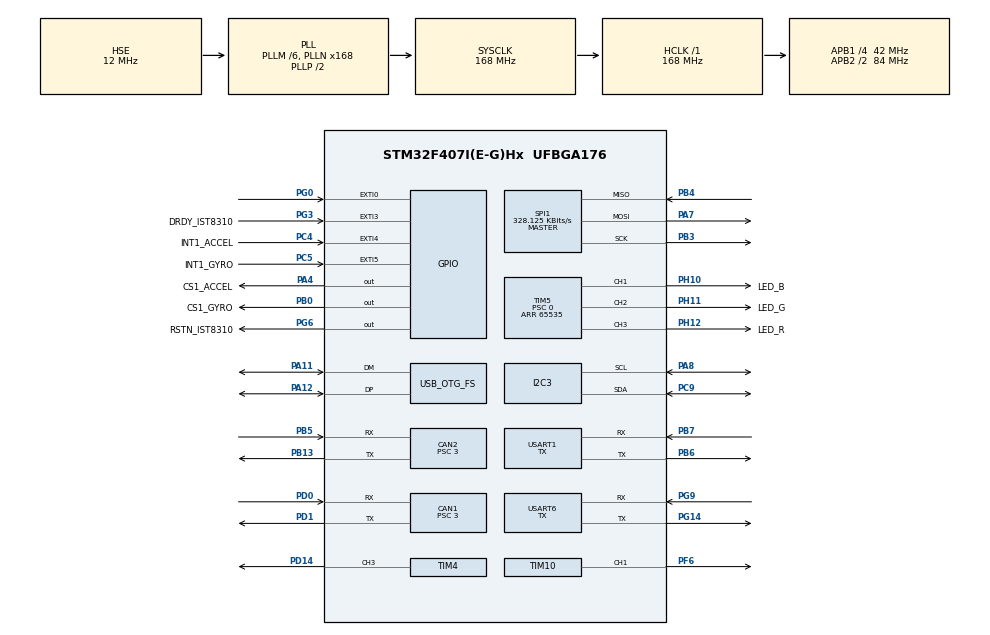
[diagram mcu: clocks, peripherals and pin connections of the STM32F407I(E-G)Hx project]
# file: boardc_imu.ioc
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CAN1.ABOM=ENABLE
CAN1.BS1=CAN_BS1_10TQ
CAN1.BS2=CAN_BS2_3TQ
CAN1.CalculateBaudRate=1000000
CAN1.CalculateTimeBit=1000
CAN1.CalculateTimeQuantum=71.42857142857143
CAN1.Prescaler=3
CAN2.ABOM=ENABLE
CAN2.BS1=CAN_BS1_10TQ
CAN2.BS2=CAN_BS2_3TQ
CAN2.CalculateBaudRate=1000000
CAN2.CalculateTimeBit=1000
CAN2.CalculateTimeQuantum=71.42857142857143
CAN2.Prescaler=3
Dma.Request0=SPI1_RX
Dma.Request1=SPI1_TX
Dma.Request2=USART1_TX
Dma.Request3=USART6_TX
Dma.SPI1_RX.0.Direction=DMA_PERIPH_TO_MEMORY
Dma.SPI1_RX.0.FIFOMode=DMA_FIFOMODE_DISABLE
Dma.SPI1_RX.0.Instance=DMA2_Stream2
Dma.SPI1_RX.0.MemDataAlignment=DMA_MDATAALIGN_BYTE
Dma.SPI1_RX.0.MemInc=DMA_MINC_ENABLE
Dma.SPI1_RX.0.Mode=DMA_NORMAL
Dma.SPI1_RX.0.PeriphDataAlignment=DMA_PDATAALIGN_BYTE
Dma.SPI1_RX.0.PeriphInc=DMA_PINC_DISABLE
Dma.SPI1_RX.0.Priority=DMA_PRIORITY_VERY_HIGH
Dma.SPI1_TX.1.Direction=DMA_MEMORY_TO_PERIPH
Dma.SPI1_TX.1.FIFOMode=DMA_FIFOMODE_DISABLE
Dma.SPI1_TX.1.Instance=DMA2_Stream3
Dma.SPI1_TX.1.MemDataAlignment=DMA_MDATAALIGN_BYTE
Dma.SPI1_TX.1.MemInc=DMA_MINC_ENABLE
Dma.SPI1_TX.1.Mode=DMA_NORMAL
Dma.SPI1_TX.1.PeriphDataAlignment=DMA_PDATAALIGN_BYTE
Dma.SPI1_TX.1.PeriphInc=DMA_PINC_DISABLE
Dma.SPI1_TX.1.Priority=DMA_PRIORITY_HIGH
Dma.USART1_TX.2.Direction=DMA_MEMORY_TO_PERIPH
Dma.USART1_TX.2.FIFOMode=DMA_FIFOMODE_DISABLE
Dma.USART1_TX.2.Instance=DMA2_Stream7
Dma.USART1_TX.2.MemDataAlignment=DMA_MDATAALIGN_BYTE
Dma.USART1_TX.2.MemInc=DMA_MINC_ENABLE
Dma.USART1_TX.2.Mode=DMA_NORMAL
Dma.USART1_TX.2.PeriphDataAlignment=DMA_PDATAALIGN_BYTE
Dma.USART1_TX.2.PeriphInc=DMA_PINC_DISABLE
Dma.USART1_TX.2.Priority=DMA_PRIORITY_LOW
Dma.USART6_TX.3.Direction=DMA_MEMORY_TO_PERIPH
Dma.USART6_TX.3.FIFOMode=DMA_FIFOMODE_DISABLE
Dma.USART6_TX.3.Instance=DMA2_Stream6
Dma.USART6_TX.3.MemDataAlignment=DMA_MDATAALIGN_BYTE
Dma.USART6_TX.3.MemInc=DMA_MINC_ENABLE
Dma.USART6_TX.3.Mode=DMA_NORMAL
Dma.USART6_TX.3.PeriphDataAlignment=DMA_PDATAALIGN_BYTE
Dma.USART6_TX.3.PeriphInc=DMA_PINC_DISABLE
Dma.USART6_TX.3.Priority=DMA_PRIORITY_LOW
I2C3.I2C_Mode=I2C_Fast
IWDG.Prescaler=IWDG_PRESCALER_32
IWDG.Reload=500
Mcu.Family=STM32F4
Mcu.Name=STM32F407I(E-G)Hx
Mcu.Package=UFBGA176
NVIC.CAN1_RX0_IRQn=true\:0\:0\:false\:false\:true\:true\:true\:true
NVIC.CAN2_RX0_IRQn=true\:0\:0\:false\:false\:true\:true\:true\:true
NVIC.DMA2_Stream2_IRQn=true\:5\:0\:true\:false\:false\:false\:true\:true
NVIC.DMA2_Stream3_IRQn=true\:5\:0\:true\:false\:false\:false\:true\:true
NVIC.DMA2_Stream6_IRQn=true\:0\:0\:false\:false\:true\:false\:true\:true
NVIC.DMA2_Stream7_IRQn=true\:0\:0\:false\:false\:true\:false\:true\:true
NVIC.EXTI0_IRQn=true\:6\:0\:true\:false\:true\:true\:true\:true
NVIC.EXTI3_IRQn=true\:5\:0\:true\:false\:true\:true\:true\:true
NVIC.EXTI4_IRQn=true\:5\:0\:true\:false\:true\:true\:true\:true
NVIC.EXTI9_5_IRQn=true\:5\:0\:true\:false\:true\:true\:true\:true
NVIC.OTG_FS_IRQn=true\:0\:0\:false\:false\:true\:false\:true\:true
NVIC.PriorityGroup=NVIC_PRIORITYGROUP_4
NVIC.TIM2_IRQn=true\:0\:0\:false\:false\:true\:true\:true\:true
NVIC.TIM7_IRQn=true\:15\:0\:false\:false\:true\:false\:true\:true
NVIC.TimeBase=TIM7_IRQn
NVIC.TimeBaseIP=TIM7
PA11.Mode=Device_Only
PA11.Signal=USB_OTG_FS_DM
PA12.Mode=Device_Only
PA12.Signal=USB_OTG_FS_DP
PA13.Mode=Serial_Wire
PA13.Signal=SYS_JTMS-SWDIO
PA14.Mode=Serial_Wire
PA14.Signal=SYS_JTCK-SWCLK
PA4.GPIO_Label=CS1_ACCEL
PA4.GPIO_PuPd=GPIO_PULLUP
PA4.GPIO_Speed=GPIO_SPEED_FREQ_HIGH
PA4.PinState=GPIO_PIN_SET
PA4.Signal=GPIO_Output
PA7.GPIO_PuPd=GPIO_PULLUP
PA7.Mode=Full_Duplex_Master
PA7.Signal=SPI1_MOSI
PA8.GPIO_Pu=GPIO_PULLUP
PA8.Mode=I2C
PA8.Signal=I2C3_SCL
PB0.GPIO_Label=CS1_GYRO
PB0.GPIO_PuPd=GPIO_PULLUP
PB0.GPIO_Speed=GPIO_SPEED_FREQ_HIGH
PB0.PinState=GPIO_PIN_SET
PB0.Signal=GPIO_Output
PB13.Mode=CAN_Activate
PB13.Signal=CAN2_TX
PB3.GPIO_PuPd=GPIO_PULLUP
PB3.Mode=Full_Duplex_Master
PB3.Signal=SPI1_SCK
PB4.GPIO_PuPd=GPIO_PULLUP
PB4.Mode=Full_Duplex_Master
PB4.Signal=SPI1_MISO
PB5.Mode=CAN_Activate
PB5.Signal=CAN2_RX
PB6.Mode=Asynchronous
PB6.Signal=USART1_TX
PB7.Mode=Asynchronous
PB7.Signal=USART1_RX
PC4.GPIO_Label=INT1_ACCEL
PC4.GPIO_ModeDefaultEXTI=GPIO_MODE_IT_FALLING
PC4.GPIO_PuPd=GPIO_PULLUP
PC4.Signal=GPXTI4
PC5.GPIO_Label=INT1_GYRO
PC5.GPIO_ModeDefaultEXTI=GPIO_MODE_IT_FALLING
PC5.GPIO_PuPd=GPIO_PULLUP
PC5.Signal=GPXTI5
PC9.GPIO_Pu=GPIO_PULLUP
PC9.Mode=I2C
PC9.Signal=I2C3_SDA
PD0.Mode=CAN_Activate
PD0.Signal=CAN1_RX
PD1.Mode=CAN_Activate
PD1.Signal=CAN1_TX
PD14.Signal=S_TIM4_CH3
PF6.GPIO_PuPd=GPIO_PULLUP
PF6.GPIO_Speed=GPIO_SPEED_FREQ_HIGH
PF6.Signal=S_TIM10_CH1
PG0.GPIO_ModeDefaultEXTI=GPIO_MODE_IT_FALLING
PG0.GPIO_PuPd=GPIO_PULLUP
PG0.Signal=GPXTI0
PG14.Mode=Asynchronous
PG14.Signal=USART6_TX
PG3.GPIO_Label=DRDY_IST8310
PG3.GPIO_ModeDefaultEXTI=GPIO_MODE_IT_FALLING
PG3.GPIO_PuPd=GPIO_PULLUP
PG3.Signal=GPXTI3
PG6.GPIO_Label=RSTN_IST8310
PG6.GPIO_PuPd=GPIO_PULLUP
PG6.GPIO_Speed=GPIO_SPEED_FREQ_MEDIUM
PG6.PinState=GPIO_PIN_SET
PG6.Signal=GPIO_Output
PG9.Mode=Asynchronous
PG9.Signal=USART6_RX
PH0-OSC_IN.Mode=HSE-External-Oscillator
PH0-OSC_IN.Signal=RCC_OSC_IN
PH1-OSC_OUT.Mode=HSE-External-Oscillator
PH1-OSC_OUT.Signal=RCC_OSC_OUT
PH10.GPIO_Label=LED_B
PH10.GPIO_PuPd=GPIO_PULLUP
PH10.GPIO_Speed=GPIO_SPEED_FREQ_HIGH
PH10.Signal=S_TIM5_CH1
PH11.GPIO_Label=LED_G
PH11.GPIO_PuPd=GPIO_PULLUP
PH11.GPIO_Speed=GPIO_SPEED_FREQ_HIGH
PH11.Signal=S_TIM5_CH2
PH12.GPIO_Label=LED_R
PH12.GPIO_PuPd=GPIO_PULLUP
PH12.GPIO_Speed=GPIO_SPEED_FREQ_HIGH
PH12.Signal=S_TIM5_CH3
ProjectManager.HeapSize=0x2000
ProjectManager.StackSize=0x2000
ProjectManager.TargetToolchain=CMake
RCC.48MHZClocksFreq_Value=48000000
RCC.AHBFreq_Value=168000000
RCC.APB1CLKDivider=RCC_HCLK_DIV4
RCC.APB1Freq_Value=42000000
RCC.APB1TimFreq_Value=84000000
RCC.APB2CLKDivider=RCC_HCLK_DIV2
RCC.APB2Freq_Value=84000000
RCC.APB2TimFreq_Value=168000000
RCC.CortexFreq_Value=168000000
RCC.HCLKFreq_Value=168000000
RCC.HSE_VALUE=12000000
RCC.HSI_VALUE=16000000
RCC.LSE_VALUE=32768
RCC.PLLM=6
RCC.PLLN=168
RCC.PLLQ=7
RCC.RCC_RTC_Clock_SourceVirtual=RCC_RTCCLKSOURCE_HSE_DIV30
RCC.RCC_RTC_Clock_Source_FROM_HSE=RCC_RTCCLKSOURCE_HSE_DIV30
RCC.SYSCLKFreq_VALUE=168000000
RCC.SYSCLKSource=RCC_SYSCLKSOURCE_PLLCLK
RCC.VCOOutputFreq_Value=336000000
SH.S_TIM10_CH1.0=TIM10_CH1,PWM Generation1 CH1
SH.S_TIM4_CH3.0=TIM4_CH3,PWM Generation3 CH3
SH.S_TIM5_CH1.0=TIM5_CH1,PWM Generation1 CH1
SH.S_TIM5_CH2.0=TIM5_CH2,PWM Generation2 CH2
SH.S_TIM5_CH3.0=TIM5_CH3,PWM Generation3 CH3
SPI1.BaudRatePrescaler=SPI_BAUDRATEPRESCALER_256
SPI1.CLKPhase=SPI_PHASE_2EDGE
SPI1.CLKPolarity=SPI_POLARITY_HIGH
SPI1.CalculateBaudRate=328.125 KBits/s
SPI1.Direction=SPI_DIRECTION_2LINES
SPI1.Mode=SPI_MODE_MASTER
SPI1.VirtualType=VM_MASTER
TIM10.AutoReloadPreload=TIM_AUTORELOAD_PRELOAD_DISABLE
TIM10.Channel=TIM_CHANNEL_1
TIM10.Period=4999
TIM2.AutoReloadPreload=TIM_AUTORELOAD_PRELOAD_ENABLE
TIM2.Period=1000
TIM2.Prescaler=84
TIM4.Channel-PWM\ Generation3\ CH3=TIM_CHANNEL_3
TIM4.Period=21000
TIM5.Channel-PWM\ Generation1\ CH1=TIM_CHANNEL_1
TIM5.Channel-PWM\ Generation2\ CH2=TIM_CHANNEL_2
TIM5.Channel-PWM\ Generation3\ CH3=TIM_CHANNEL_3
TIM5.Period=65535
TIM5.Prescaler=0
USART1.Mode=MODE_TX
USART1.VirtualMode=VM_ASYNC
USART6.Mode=MODE_TX
USART6.VirtualMode=VM_ASYNC
USB_DEVICE.CLASS_NAME_FS=CDC
USB_DEVICE.VirtualMode-CDC_FS=Cdc
USB_DEVICE.VirtualModeFS=Cdc_FS
USB_OTG_FS.VirtualMode=Device_Only
VP_IWDG_VS_IWDG.Mode=IWDG_Activate
VP_SYS_VS_tim7.Mode=TIM7
VP_TIM10_VS_ClockSourceINT.Mode=Enable_Timer
VP_TIM2_VS_ClockSourceINT.Mode=Internal
VP_TIM5_VS_ClockSourceINT.Mode=Internal
VP_USB_DEVICE_VS_USB_DEVICE_CDC_FS.Mode=CDC_FS
board=custom

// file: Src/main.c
/* USER CODE BEGIN Header */
/**
 ******************************************************************************
 * @file           : main.c
 * @brief          : Main program body
 ******************************************************************************
 * @attention
 *
 * Copyright (c) 2024 STMicroelectronics.
 * All rights reserved.
 *
 * This software is licensed under terms that can be found in the LICENSE file
 * in the root directory of this software component.
 * If no LICENSE file comes with this software, it is provided AS-IS.
 *
 ******************************************************************************
 */
/* USER CODE END Header */
#include "main.h"
#include "can.h"
#include "dma.h"
#include "i2c.h"
#include "iwdg.h"
#include "spi.h"
#include "tim.h"
#include "usart.h"
#include "usb_device.h"
#include "gpio.h"

void SystemClock_Config(void);
/* USER CODE BEGIN PFP */
void InsInit();
void InsLoop();
void IOInit();
void Broadcast();
/* USER CODE END PFP */

int main(void)
{

  /* MCU Configuration--------------------------------------------------------*/

  /* Reset of all peripherals, Initializes the Flash interface and the Systick. */
  HAL_Init();

  /* Configure the system clock */
  SystemClock_Config();

  /* Initialize all configured peripherals */
  MX_GPIO_Init();
  MX_DMA_Init();
  MX_SPI1_Init();
  MX_TIM5_Init();
  MX_I2C3_Init();
  MX_TIM10_Init();
  MX_USART6_UART_Init();
  MX_CAN1_Init();
  MX_CAN2_Init();
  MX_USB_DEVICE_Init();
  MX_TIM4_Init();
  MX_TIM2_Init();
  MX_IWDG_Init();
  MX_USART1_UART_Init();
  /* USER CODE BEGIN 2 */
  InsInit();
  IOInit();
  HAL_TIM_PWM_Start(&htim4, TIM_CHANNEL_3);
  __HAL_TIM_SetCompare(&htim4, TIM_CHANNEL_3, 8000);
  HAL_Delay(50);
  __HAL_TIM_SetCompare(&htim4, TIM_CHANNEL_3, 0);
  HAL_Delay(50);
  __HAL_TIM_SetCompare(&htim4, TIM_CHANNEL_3, 8000);
  HAL_Delay(50);
  __HAL_TIM_SetCompare(&htim4, TIM_CHANNEL_3, 0);
  HAL_TIM_PWM_Stop(&htim4, TIM_CHANNEL_3);
  MX_IWDG_Init();
  HAL_TIM_Base_Start_IT(&htim2);
  /* USER CODE END 2 */

  /* Infinite loop */
  /* USER CODE BEGIN WHILE */
  while (1) {
    // InsLoop();
    // Broadcast();
    /* USER CODE END WHILE */

  }
}

void SystemClock_Config(void)
{
  RCC_OscInitTypeDef RCC_OscInitStruct = {0};
  RCC_ClkInitTypeDef RCC_ClkInitStruct = {0};

  /** Configure the main internal regulator output voltage
  */
  __HAL_RCC_PWR_CLK_ENABLE();
  __HAL_PWR_VOLTAGESCALING_CONFIG(PWR_REGULATOR_VOLTAGE_SCALE1);

  /** Initializes the RCC Oscillators according to the specified parameters
  * in the RCC_OscInitTypeDef structure.
  */
  RCC_OscInitStruct.OscillatorType = RCC_OSCILLATORTYPE_LSI|RCC_OSCILLATORTYPE_HSE;
  RCC_OscInitStruct.HSEState = RCC_HSE_ON;
  RCC_OscInitStruct.LSIState = RCC_LSI_ON;
  RCC_OscInitStruct.PLL.PLLState = RCC_PLL_ON;
  RCC_OscInitStruct.PLL.PLLSource = RCC_PLLSOURCE_HSE;
  RCC_OscInitStruct.PLL.PLLM = 6;
  RCC_OscInitStruct.PLL.PLLN = 168;
  RCC_OscInitStruct.PLL.PLLP = RCC_PLLP_DIV2;
  RCC_OscInitStruct.PLL.PLLQ = 7;
  if (HAL_RCC_OscConfig(&RCC_OscInitStruct) != HAL_OK)
  {
    Error_Handler();
  }

  /** Initializes the CPU, AHB and APB buses clocks
  */
  RCC_ClkInitStruct.ClockType = RCC_CLOCKTYPE_HCLK|RCC_CLOCKTYPE_SYSCLK
                              |RCC_CLOCKTYPE_PCLK1|RCC_CLOCKTYPE_PCLK2;
  RCC_ClkInitStruct.SYSCLKSource = RCC_SYSCLKSOURCE_PLLCLK;
  RCC_ClkInitStruct.AHBCLKDivider = RCC_SYSCLK_DIV1;
  RCC_ClkInitStruct.APB1CLKDivider = RCC_HCLK_DIV4;
  RCC_ClkInitStruct.APB2CLKDivider = RCC_HCLK_DIV2;

  if (HAL_RCC_ClockConfig(&RCC_ClkInitStruct, FLASH_LATENCY_5) != HAL_OK)
  {
    Error_Handler();
  }
}

void HAL_TIM_PeriodElapsedCallback(TIM_HandleTypeDef *htim)
{
  if (htim->Instance == TIM7) {
    HAL_IncTick();
  }
  /* USER CODE BEGIN Callback 1 */
  if (htim->Instance == TIM2) {
    InsLoop();
    Broadcast();
    HAL_IWDG_Refresh(&hiwdg);
  }
  /* USER CODE END Callback 1 */
}

void Error_Handler(void)
{
  __disable_irq();
  while (1) {
  }
}
